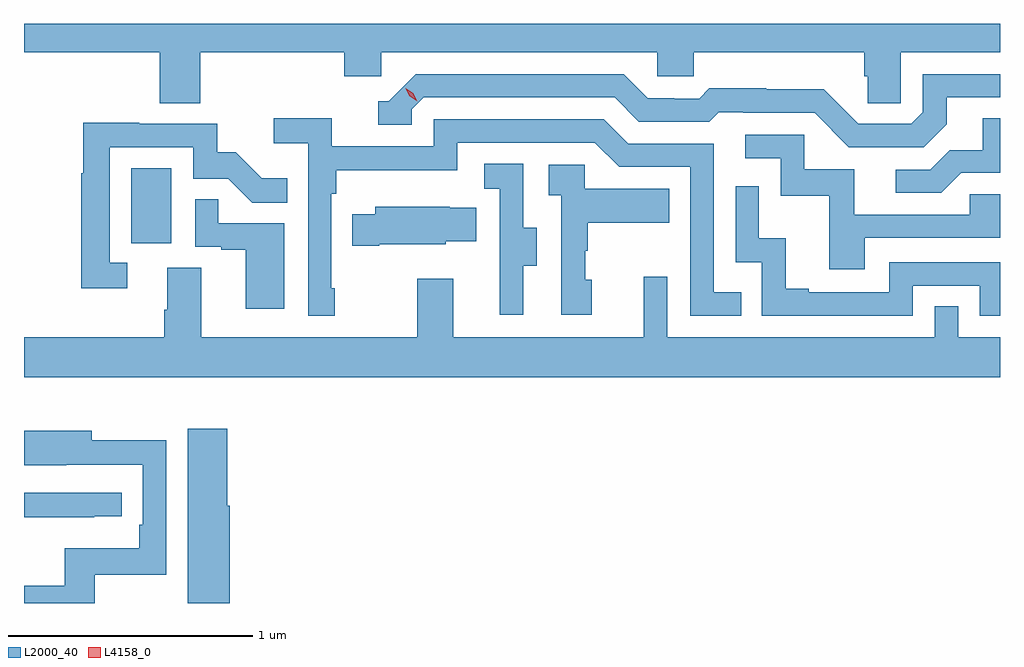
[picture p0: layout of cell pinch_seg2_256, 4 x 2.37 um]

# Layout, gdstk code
import gdstk
lib = gdstk.Library(unit=1e-6, precision=1e-09)
def R(c, l, rs):  # rectangles x0, y0, x1, y1
    for r in rs: c.add(gdstk.rectangle(r[:2], r[2:], *l))
def P(c, l, *ps):  # polygons
    for p in ps: c.add(gdstk.Polygon(p, *l))
L2000_40 = (2000, 40)
L4158_0 = (4158, 0)

pinch_seg2_256 = lib.new_cell('pinch_seg2_256')
R(pinch_seg2_256, L2000_40, [(901.472,665.502,901.636,665.809)])
P(pinch_seg2_256, L2000_40, [(901.754,666.284),(902.345,666.284),(902.345,666.186),(902.496,666.186),(902.496,666.284),(903.627,666.284),(903.627,666.186),(903.777,666.186),(903.777,666.284),(904.475,666.284),(904.475,666.186),(904.489,666.186),(904.489,666.076),(904.626,666.076),(904.626,666.284),(905.032,666.284),(905.032,666.4),(901.032,666.4),(901.032,666.284),(901.589,666.284),(901.589,666.076),(901.754,666.076)],
  [(904.813,665.989),(904.813,666.099),(905.032,666.099),(905.032,666.195),(904.716,666.195),(904.716,666.039),(904.668,665.991),(904.452,665.991),(904.31,666.133),(904.074,666.133),(904.074,666.136),(903.841,666.136),(903.799,666.093),(903.696,666.093),(903.696,666.096),(903.589,666.096),(903.49,666.195),(902.637,666.195),(902.526,666.084),(902.483,666.084),(902.483,665.988),(902.622,665.988),(902.622,666.051),(902.67,666.099),(903.453,666.099),(903.552,666),(903.841,666),(903.88,666.039),(903.979,666.039),(903.979,666.036),(904.272,666.036),(904.413,665.895),(904.719,665.895)],
  [(902.305,665.317),(902.292,665.317),(902.292,665.705),(902.312,665.705),(902.312,665.801),(902.808,665.801),(902.808,665.913),(903.372,665.913),(903.471,665.814),(903.762,665.814),(903.762,665.205),(903.971,665.205),(903.971,665.301),(903.858,665.301),(903.858,665.91),(903.508,665.91),(903.409,666.009),(902.712,666.009),(902.712,665.898),(902.294,665.898),(902.294,666.014),(902.055,666.014),(902.055,665.912),(902.196,665.912),(902.196,665.205),(902.305,665.205)],
  [(904.873,665.79),(905.032,665.79),(905.032,666.014),(904.961,666.014),(904.961,665.882),(904.826,665.882),(904.746,665.802),(904.605,665.802),(904.605,665.709),(904.792,665.709)],
  [(901.456,665.421),(901.383,665.421),(901.383,665.895),(901.725,665.895),(901.725,665.766),(901.869,665.766),(901.967,665.668),(902.111,665.668),(902.111,665.767),(902.007,665.767),(901.9,665.874),(901.824,665.874),(901.824,665.991),(901.505,665.991),(901.505,665.996),(901.275,665.996),(901.275,665.788),(901.267,665.788),(901.267,665.316),(901.456,665.316)],
  [(904.477,665.523),(905.032,665.523),(905.032,665.703),(904.909,665.703),(904.909,665.619),(904.435,665.619),(904.435,665.805),(904.23,665.805),(904.23,665.946),(903.987,665.946),(903.987,665.85),(904.134,665.85),(904.134,665.697),(904.333,665.697),(904.333,665.394),(904.477,665.394)],
  [(903.079,665.41),(903.133,665.41),(903.133,665.565),(903.078,665.565),(903.078,665.828),(902.919,665.828),(902.919,665.725),(902.982,665.725),(902.982,665.421),(902.981,665.421),(902.981,665.208),(903.079,665.208)],
  [(903.358,665.352),(903.333,665.352),(903.333,665.471),(903.343,665.471),(903.343,665.585),(903.677,665.585),(903.677,665.725),(903.33,665.725),(903.33,665.823),(903.183,665.823),(903.183,665.699),(903.234,665.699),(903.234,665.208),(903.358,665.208)],
  [(904.674,665.328),(904.95,665.328),(904.95,665.205),(905.032,665.205),(905.032,665.424),(904.578,665.424),(904.578,665.301),(904.249,665.301),(904.249,665.314),(904.154,665.314),(904.154,665.522),(904.044,665.522),(904.044,665.734),(903.948,665.734),(903.948,665.424),(904.056,665.424),(904.056,665.205),(904.674,665.205)],
  [(902.098,665.583),(901.829,665.583),(901.829,665.681),(901.734,665.681),(901.734,665.487),(901.841,665.487),(901.841,665.475),(901.94,665.475),(901.94,665.232),(902.098,665.232)],
  [(902.488,665.498),(902.76,665.498),(902.76,665.51),(902.885,665.51),(902.885,665.647),(902.777,665.647),(902.777,665.65),(902.471,665.65),(902.471,665.62),(902.377,665.62),(902.377,665.491),(902.488,665.491)],
  [(905.032,665.116),(904.86,665.116),(904.86,665.243),(904.764,665.243),(904.764,665.116),(903.669,665.116),(903.669,665.365),(903.572,665.365),(903.572,665.116),(902.791,665.116),(902.791,665.356),(902.644,665.356),(902.644,665.116),(901.759,665.116),(901.759,665.402),(901.619,665.402),(901.619,665.228),(901.607,665.228),(901.607,665.116),(901.032,665.116),(901.032,664.952),(905.032,664.952)],
  [(901.876,664.425),(901.864,664.425),(901.864,664.741),(901.703,664.741),(901.703,664.027),(901.876,664.027)],
  [(901.321,664.143),(901.614,664.143),(901.614,664.694),(901.309,664.694),(901.309,664.732),(901.032,664.732),(901.032,664.592),(901.205,664.592),(901.205,664.593),(901.518,664.593),(901.518,664.348),(901.505,664.348),(901.505,664.252),(901.2,664.252),(901.2,664.097),(901.032,664.097),(901.032,664.027),(901.321,664.027)],
  [(901.319,664.383),(901.432,664.383),(901.432,664.479),(901.032,664.479),(901.032,664.378),(901.319,664.378)])
P(pinch_seg2_256, L4158_0, [(902.644,666.083),(902.613,666.103),(902.597,666.135),(902.597,666.136),(902.597,666.136),(902.628,666.116),(902.644,666.084),(902.644,666.083)])

lib.write_gds('pinch_seg2_256.gds')
